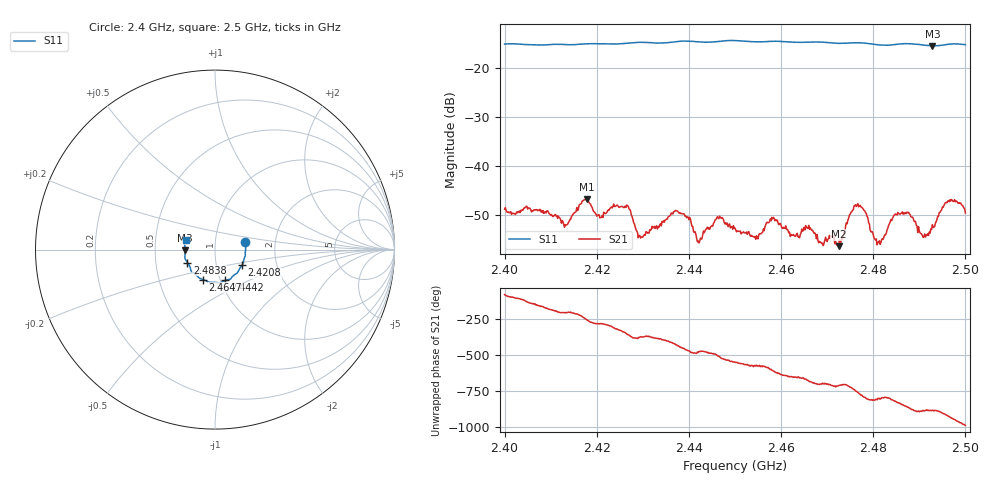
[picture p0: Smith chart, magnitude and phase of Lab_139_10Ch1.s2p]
# Hz S RI R 50
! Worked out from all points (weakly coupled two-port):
!   601 points, 2.4 GHz to 2.5 GHz, reference 50 ohm
!   highest |S21| = -46.70 dB at 2.4178 GHz (marker M1); lowest = -56.2 dB at 2.4725 GHz (marker M2)
!   lowest |S11| = -15.6 dB at 2.4928 GHz (marker M3), VSWR 1.40, Z = 35.8 - j0.353 ohm
!   |S11| at or under -10 dB: start of sweep to end of sweep
!   S12 and S22 are empty: the file has one direction only
!   S11 on the Smith chart (normalised r, x): 2.4 GHz: 1.40, +0.12; 2.4208 GHz: 1.33, -0.24; 2.4442 GHz: 1.05, -0.37; 2.4647 GHz: 0.83, -0.29; 2.4838 GHz: 0.73, -0.11; 2.5 GHz: 0.72, +0.08
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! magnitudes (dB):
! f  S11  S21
! 2.4 GHz  -15.2  -48.7
! 2.4133 GHz  -15.4  -52.0
! 2.4167 GHz  -15.2  -47.6
! 2.4178 GHz  -15.2  -46.7
! 2.4208 GHz  -15.2  -50.4
! 2.4263 GHz  -15.1  -48.4
! 2.4295 GHz  -14.9  -54.6
! 2.4333 GHz  -15.0  -52.2
! 2.4372 GHz  -14.8  -49.0
! 2.4422 GHz  -14.8  -55.6
! 2.4442 GHz  -14.9  -52.7
! 2.45 GHz  -14.5  -52.6
! 2.4647 GHz  -14.9  -53.2
! 2.4667 GHz  -14.8  -53.0
! 2.4725 GHz  -15.1  -56.2
! 2.4763 GHz  -15.0  -48.2
! 2.481 GHz  -15.4  -55.5
! 2.4833 GHz  -15.5  -52.0
! 2.4838 GHz  -15.4  -50.8
! 2.4928 GHz  -15.6  -51.9
! 2.4962 GHz  -15.3  -47.1
! 2.5 GHz  -15.4  -49.5
